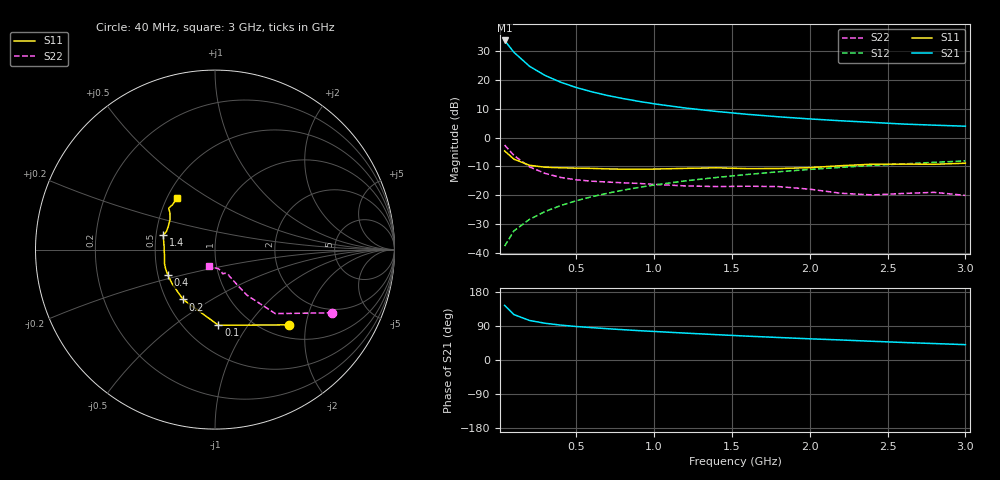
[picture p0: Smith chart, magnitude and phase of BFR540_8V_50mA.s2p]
! Filename:  BFR540L.S2P  Version:  3.0
! Philips part #: BFR540  Date: Feb 1992
! Bias condition: Vce=8V, Ic=50mA
#  MHz  S  MA  R  50
! Freq  S11  S21  S12  S22  !GUM [dB]
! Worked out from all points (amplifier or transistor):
!   21 points, 40 MHz to 3 GHz, reference 50 ohm
!   highest |S21| = 33.8 dB at 40 MHz (marker M1)
!   |S21| within 3 dB of that: start of sweep to 83.7 MHz
!   unconditionally stable (mu >= 1): 586.9 MHz to 2.955 GHz
!   at 300 MHz: K = 0.92, MSG = 23.6 dB, |S12| = -25.7 dB
!   at 1 GHz: K = 1.03, MAG = 13.1 dB, |S12| = -16.5 dB
!   at 3 GHz: K = 1.00, MSG = 6.0 dB, |S12| = -8.1 dB
!   S11 on the Smith chart (normalised r, x): 40 MHz: 1.25, -1.60; 100 MHz: 0.72, -0.74; 200 MHz: 0.61, -0.38; 400 MHz: 0.56, -0.18; 1.4 GHz: 0.55, +0.10; 3 GHz: 0.56, +0.37
40  0.587 -45.6  48.71 144.3  0.013 71.6  0.743 -28.3
100  0.422 -87.4  30.31 119.8  0.024 65.1  0.49 -46.7
200  0.33 -122.6  17.33 104.3  0.038 66.7  0.31 -55.0
300  0.306 -140.6  12.01 97.0  0.052 69.6  0.239 -57.5
400  0.299 -151.6  9.171 92.1  0.066 71.0  0.203 -59.2
500  0.295 -159.0  7.413 88.4  0.08 71.9  0.185 -60.3
600  0.292 -164.5  6.246 85.4  0.094 72.1  0.175 -61.1
700  0.286 -169.5  5.397 82.6  0.108 72.1  0.169 -61.5
800  0.283 -174.0  4.775 80.0  0.122 71.9  0.164 -61.6
900  0.283 -178.8  4.273 77.5  0.136 71.6  0.16 -61.7
1000  0.284 176.8  3.865 75.3  0.15 71.0  0.154 -62.5
1200  0.292 169.0  3.269 71.0  0.177 69.9  0.145 -65.8
1400  0.299 164.3  2.848 66.9  0.203 68.4  0.141 -69.9
1600  0.289 159.9  2.537 62.9  0.229 67.1  0.143 -70.6
1800  0.29 154.1  2.298 59.4  0.255 65.6  0.141 -72.5
2000  0.301 146.4  2.111 55.9  0.28 63.9  0.127 -73.7
2200  0.325 140.6  1.96 52.9  0.304 62.3  0.108 -79.9
2400  0.345 138.4  1.837 49.4  0.329 60.5  0.101 -93.2
2600  0.346 137.2  1.72 46.3  0.349 58.7  0.107 -103.7
2800  0.344 133.3  1.644 43.4  0.372 57.1  0.112 -106.7
3000  0.359 126.2  1.578 40.5  0.394 55.4  0.099 -109.8
